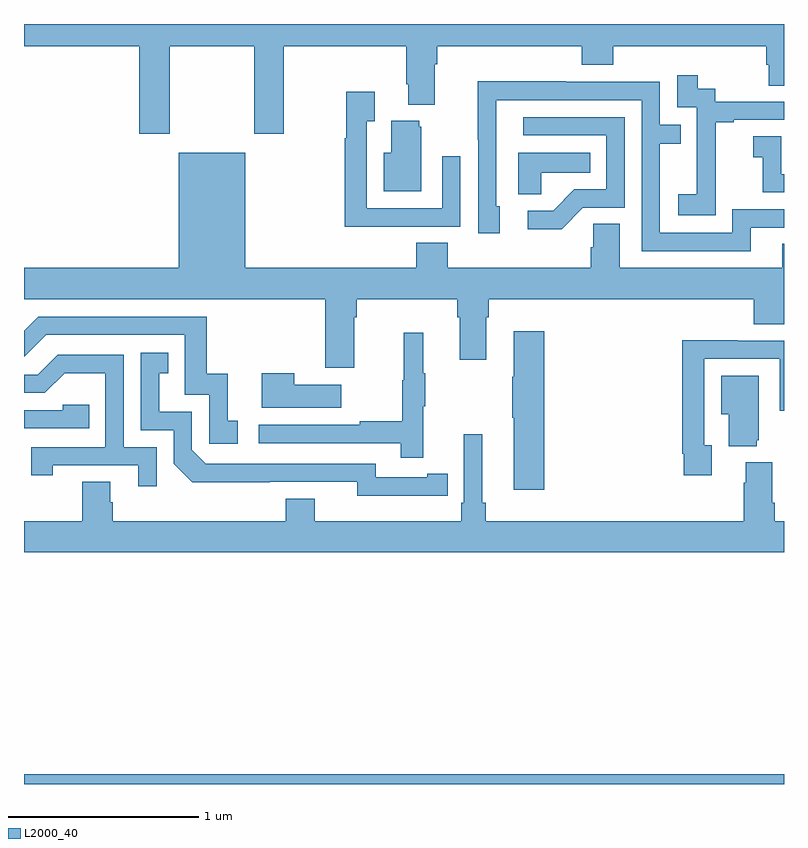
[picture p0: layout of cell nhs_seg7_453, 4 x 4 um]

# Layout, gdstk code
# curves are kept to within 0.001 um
import gdstk
lib = gdstk.Library(unit=1e-6, precision=1e-09)
def R(c, l, rs):  # rectangles x0, y0, x1, y1
    for r in rs: c.add(gdstk.rectangle(r[:2], r[2:], *l))
def P(c, l, *ps):  # polygons
    for p in ps: c.add(gdstk.Polygon(p, *l))
L2000_40 = (2000, 40)

nhs_seg7_453 = lib.new_cell('nhs_seg7_453')
R(nhs_seg7_453, L2000_40, [(145,1062,149,1062.052)])
P(nhs_seg7_453, L2000_40, [(145.767,1065.884),(146.212,1065.884),(146.212,1065.423),(146.367,1065.423),(146.367,1065.884),(147.011,1065.884),(147.011,1065.682),(147.023,1065.682),(147.023,1065.575),(147.163,1065.575),(147.163,1065.788),(147.176,1065.788),(147.176,1065.884),(147.935,1065.884),(147.935,1065.785),(148.1,1065.785),(148.1,1065.884),(148.907,1065.884),(148.907,1065.786),(148.919,1065.786),(148.919,1065.676),(149,1065.676),(149,1066),(145,1066),(145,1065.884),(145.607,1065.884),(145.607,1065.423),(145.767,1065.423)],
  [(148.641,1065.199),(148.64,1065.199),(148.64,1065.483),(148.735,1065.483),(148.735,1065.495),(149,1065.495),(149,1065.591),(148.638,1065.591),(148.638,1065.66),(148.546,1065.66),(148.546,1065.73),(148.437,1065.73),(148.437,1065.561),(148.542,1065.561),(148.542,1065.332),(148.541,1065.332),(148.541,1065.103),(148.443,1065.103),(148.443,1064.993),(148.641,1064.993)],
  [(148.825,1064.928),(149,1064.928),(149,1065.024),(148.728,1065.024),(148.728,1064.901),(148.347,1064.901),(148.347,1065.37),(148.457,1065.37),(148.457,1065.471),(148.347,1065.471),(148.347,1065.696),(147.851,1065.696),(147.851,1065.698),(147.388,1065.698),(147.388,1065.391),(147.39,1065.391),(147.39,1064.898),(147.505,1064.898),(147.505,1065.042),(147.486,1065.042),(147.486,1065.6),(148.251,1065.6),(148.251,1064.805),(148.825,1064.805)],
  [(146.981,1064.934),(147.297,1064.934),(147.297,1065.304),(147.201,1065.304),(147.201,1065.03),(146.805,1065.03),(146.805,1065.487),(146.845,1065.487),(146.845,1065.643),(146.697,1065.643),(146.697,1065.398),(146.689,1065.398),(146.689,1064.933),(146.981,1064.933)],
  [(147.942,1065.033),(148.161,1065.033),(148.161,1065.51),(147.627,1065.51),(147.627,1065.414),(148.065,1065.414),(148.065,1065.129),(147.896,1065.129),(147.785,1065.018),(147.651,1065.018),(147.651,1064.921),(147.829,1064.921)],
  [(147.091,1065.459),(147.08,1065.459),(147.08,1065.49),(146.933,1065.49),(146.933,1065.322),(146.894,1065.322),(146.894,1065.119),(147.091,1065.119)],
  [(149,1065.21),(148.986,1065.21),(148.986,1065.409),(148.839,1065.409),(148.839,1065.299),(148.888,1065.299),(148.888,1065.114),(149,1065.114)],
  [(147.723,1065.218),(147.98,1065.218),(147.98,1065.322),(147.602,1065.322),(147.602,1065.103),(147.723,1065.103)],
  [(146.737,1064.456),(146.75,1064.456),(146.75,1064.552),(147.281,1064.552),(147.281,1064.456),(147.293,1064.456),(147.293,1064.232),(147.433,1064.232),(147.433,1064.456),(147.446,1064.456),(147.446,1064.552),(148.841,1064.552),(148.841,1064.419),(149,1064.419),(149,1064.843),(148.991,1064.843),(148.991,1064.716),(148.135,1064.716),(148.135,1064.948),(147.996,1064.948),(147.996,1064.825),(147.983,1064.825),(147.983,1064.716),(147.23,1064.716),(147.23,1064.849),(147.065,1064.849),(147.065,1064.716),(146.164,1064.716),(146.164,1065.322),(145.814,1065.322),(145.814,1064.716),(145,1064.716),(145,1064.552),(146.585,1064.552),(146.585,1064.19),(146.737,1064.19)],
  [(146.125,1063.911),(146.072,1063.911),(146.072,1064.158),(145.961,1064.158),(145.961,1064.46),(145.074,1064.46),(145,1064.386),(145,1064.248),(145.116,1064.364),(145.845,1064.364),(145.845,1064.049),(145.974,1064.049),(145.974,1063.791),(146.125,1063.791)],
  [(147.737,1064.383),(147.578,1064.383),(147.578,1064.144),(147.571,1064.144),(147.571,1063.927),(147.578,1063.927),(147.578,1063.548),(147.737,1063.548)],
  [(147.101,1063.987),(147.112,1063.987),(147.112,1064.161),(147.101,1064.161),(147.101,1064.374),(146.998,1064.374),(146.998,1064.124),(146.991,1064.124),(146.991,1063.91),(146.767,1063.91),(146.767,1063.89),(146.235,1063.89),(146.235,1063.794),(146.983,1063.794),(146.983,1063.716),(147.101,1063.716)],
  [(148.621,1063.782),(148.581,1063.782),(148.581,1064.238),(148.977,1064.238),(148.977,1063.965),(149,1063.965),(149,1064.334),(148.757,1064.334),(148.757,1064.336),(148.465,1064.336),(148.465,1063.738),(148.473,1063.738),(148.473,1063.626),(148.621,1063.626)],
  [(147.122,1063.518),(147.23,1063.518),(147.23,1063.634),(147.122,1063.634),(147.122,1063.614),(146.85,1063.614),(146.85,1063.686),(145.956,1063.686),(145.884,1063.758),(145.884,1063.959),(145.711,1063.959),(145.711,1064.163),(145.76,1064.163),(145.76,1064.269),(145.614,1064.269),(145.614,1063.863),(145.788,1063.863),(145.788,1063.686),(145.886,1063.589),(146.754,1063.59),(146.754,1063.517)],
  [(145.698,1063.773),(145.524,1063.773),(145.524,1064.259),(145.178,1064.259),(145.073,1064.154),(145,1064.154),(145,1064.058),(145.11,1064.058),(145.214,1064.162),(145.428,1064.162),(145.428,1063.773),(145.039,1063.773),(145.039,1063.626),(145.15,1063.626),(145.15,1063.677),(145.601,1063.677),(145.601,1063.566),(145.698,1063.566)],
  [(146.671,1064.101),(146.423,1064.101),(146.423,1064.161),(146.252,1064.161),(146.252,1063.979),(146.671,1063.979)],
  [(148.856,1063.809),(148.867,1063.809),(148.867,1064.149),(148.67,1064.149),(148.67,1063.946),(148.709,1063.946),(148.709,1063.778),(148.856,1063.778)],
  [(145.343,1063.995),(145.203,1063.995),(145.203,1063.968),(145,1063.968),(145,1063.872),(145.343,1063.872)],
  [(149,1063.384),(148.952,1063.384),(148.952,1063.48),(148.939,1063.48),(148.939,1063.693),(148.799,1063.693),(148.799,1063.586),(148.787,1063.586),(148.787,1063.384),(147.431,1063.384),(147.431,1063.48),(147.412,1063.48),(147.412,1063.84),(147.315,1063.84),(147.315,1063.48),(147.302,1063.48),(147.302,1063.384),(146.53,1063.384),(146.53,1063.501),(146.378,1063.501),(146.378,1063.384),(145.466,1063.384),(145.466,1063.482),(145.453,1063.482),(145.453,1063.592),(145.306,1063.592),(145.306,1063.384),(145,1063.384),(145,1063.22),(149,1063.22)])

lib.write_gds('nhs_seg7_453.gds')
